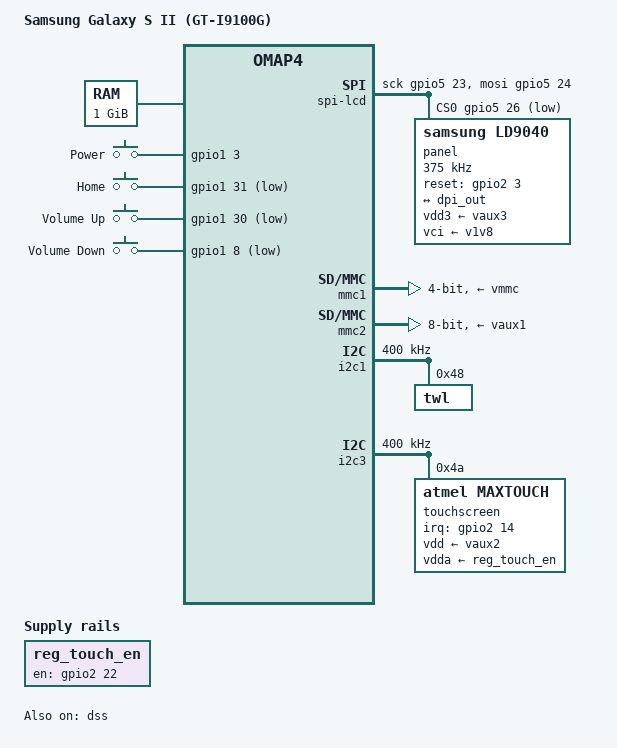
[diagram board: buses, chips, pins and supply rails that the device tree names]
// SPDX-License-Identifier: GPL-2.0-only
/*
 * Copyright (c) 2023, David Wronek <davidwronek@gmail.com>
 */

/dts-v1/;
#include <dt-bindings/input/input.h>
#include "omap443x.dtsi"

#define USE_SIMPLEFB 0

/ {
	model = "Samsung Galaxy S II (GT-I9100G)";
	compatible = "samsung,t1", "ti,omap4430", "ti,omap4";

	aliases {
		display0 = &panel;
	};

	memory@80000000 {
		device_type = "memory";
		reg = <0x80000000 0x40000000>; /* 1 GB */
	};

	reserved-memory {
		#address-cells = <1>;
		#size-cells = <1>;
		ranges;

#if USE_SIMPLEFB
		framebuffer@bef00000 {
			no-map;
			reg = <0xbef00000 (480 * 800 * 4)>;
		};
#endif
	};

	chosen {
		#address-cells = <1>;
		#size-cells = <1>;
		ranges;

		bootargs = "PMOS_NOSPLASH console=tty0";

#if USE_SIMPLEFB
		panel: framebuffer@bef00000 {
			compatible = "simple-framebuffer";
			reg = <0xbef00000 (480 * 800 * 4)>;
			width = <480>;
			height = <800>;
			stride = <(480 * 4)>;
			format = "a8r8g8b8";

			vci-supply = <&vaux3>;
			vdd3-supply = <&v1v8>;

			/*
			 * That's a lot of clocks, but it's necessary due
			 * to unused clk cleanup & no panel driver yet..
			 */
			clocks = <&l3_dss_clkctrl OMAP4_DSS_CORE_CLKCTRL 0>,
				 <&l3_dss_clkctrl OMAP4_DSS_CORE_CLKCTRL 8>,
				 <&l3_dss_clkctrl OMAP4_DSS_CORE_CLKCTRL 9>,
				 <&l3_dss_clkctrl OMAP4_DSS_CORE_CLKCTRL 10>,
				 <&l3_dss_clkctrl OMAP4_DSS_CORE_CLKCTRL 11>,
				 <&l3_div_ck>;
		};
#endif
	};

	gpio-keys {
		compatible = "gpio-keys";

		power {
			label = "Power";
			linux,code = <KEY_POWER>;
			gpios = <&gpio1 3 GPIO_ACTIVE_HIGH>;
			wakeup-source;
		};

		home {
			label = "Home";
			linux,code = <KEY_HOME>;
			gpios = <&gpio1 31 GPIO_ACTIVE_LOW>;
		};


		button-volup {
			label = "Volume Up";
			linux,code = <KEY_VOLUMEUP>;
			gpios = <&gpio1 30 GPIO_ACTIVE_LOW>;
		};

		button-voldown {
			label = "Volume Down";
			linux,code = <KEY_VOLUMEDOWN>;
			gpios = <&gpio1 8 GPIO_ACTIVE_LOW>;
		};
	};

	reg_touch_en: regulator-touch-en  {
		compatible = "regulator-fixed";
		regulator-name = "touch_en";
		gpios = <&gpio2 22 GPIO_ACTIVE_HIGH>;
		regulator-always-on;
		enable-active-high;
	};

	spi-lcd {
		compatible = "spi-gpio";
		#address-cells = <1>;
		#size-cells = <0>;
		pinctrl-names = "default";
		pinctrl-0 = <&mcspi4_pins>;

		num-chipselects = <1>;
		cs-gpios = <&gpio5 26 GPIO_ACTIVE_LOW>;
		sck-gpios = <&gpio5 23 GPIO_ACTIVE_HIGH>;
		mosi-gpios = <&gpio5 24 GPIO_ACTIVE_HIGH>;

		status = "okay";

		panel: panel@0 {
			compatible = "samsung,ld9040";
			reg = <0>;

			pinctrl-names = "default";
			pinctrl-0 = <&panel_pins>;

			spi-max-frequency = <375000>;

			vdd3-supply = <&vaux3>;
			vci-supply = <&v1v8>;

			reset-gpios = <&gpio2 3 GPIO_ACTIVE_HIGH>;
			power-on-delay = <20>;
			reset-delay = <20>;

			panel-width-mm = <56>;
			panel-height-mm = <93>;

			display-timings {
				timing {
					clock-frequency = <25600000>;
					hactive = <480>;
					vactive = <800>;
					hback-porch = <16>;
					hfront-porch = <16>;
					vback-porch = <4>;
					vfront-porch = <10>;
					hsync-len = <2>;
					vsync-len = <2>;
					hsync-active = <0>;
					vsync-active = <0>;
					de-active = <0>;
					pixelclk-active = <0>;
				};
			};

			port {
				panel_in: endpoint {
					remote-endpoint = <&dpi_out>;
				};
			};
		};
	};
};

&omap4_pmx_core {
	pinctrl-names = "default";

	dss_dpi_pins: dss-dpi-pins {
		pinctrl-single,pins = <
			OMAP4_IOPAD(0x162, PIN_OUTPUT | MUX_MODE5)	/* dispc2_data23 */
			OMAP4_IOPAD(0x164, PIN_OUTPUT | MUX_MODE5) 	/* dispc2_data22 */
			OMAP4_IOPAD(0x166, PIN_OUTPUT | MUX_MODE5)	/* dispc2_data21 */
			OMAP4_IOPAD(0x168, PIN_OUTPUT | MUX_MODE5)	/* dispc2_data20 */
			OMAP4_IOPAD(0x16a, PIN_OUTPUT | MUX_MODE5)	/* dispc2_data19 */
			OMAP4_IOPAD(0x16c, PIN_OUTPUT | MUX_MODE5)	/* dispc2_data18 */
			OMAP4_IOPAD(0x16e, PIN_OUTPUT | MUX_MODE5)	/* dispc2_data15 */
			OMAP4_IOPAD(0x170, PIN_OUTPUT | MUX_MODE5)	/* dispc2_data14 */
			OMAP4_IOPAD(0x172, PIN_OUTPUT | MUX_MODE5)	/* dispc2_data13 */
			OMAP4_IOPAD(0x174, PIN_OUTPUT | MUX_MODE5)	/* dispc2_data12 */
			OMAP4_IOPAD(0x176, PIN_OUTPUT | MUX_MODE5)	/* dispc2_data11 */

			OMAP4_IOPAD(0x1b4, PIN_OUTPUT | MUX_MODE5)	/* dispc2_data10 */
			OMAP4_IOPAD(0x1b6, PIN_OUTPUT | MUX_MODE5)	/* dispc2_data9 */
			OMAP4_IOPAD(0x1b8, PIN_OUTPUT | MUX_MODE5)	/* dispc2_data16 */
			OMAP4_IOPAD(0x1ba, PIN_OUTPUT | MUX_MODE5)	/* dispc2_data17 */
			OMAP4_IOPAD(0x1bc, PIN_OUTPUT | MUX_MODE5)	/* dispc2_hsync */
			OMAP4_IOPAD(0x1be, PIN_OUTPUT | MUX_MODE5)	/* dispc2_pclk */
			OMAP4_IOPAD(0x1c0, PIN_OUTPUT | MUX_MODE5)	/* dispc2_vsync */
			OMAP4_IOPAD(0x1c2, PIN_OUTPUT | MUX_MODE5)	/* dispc2_de */
			OMAP4_IOPAD(0x1c4, PIN_OUTPUT | MUX_MODE5)	/* dispc2_data8 */
			OMAP4_IOPAD(0x1c6, PIN_OUTPUT | MUX_MODE5)	/* dispc2_data7 */
			OMAP4_IOPAD(0x1c8, PIN_OUTPUT | MUX_MODE5)	/* dispc2_data6 */
			OMAP4_IOPAD(0x1ca, PIN_OUTPUT | MUX_MODE5)	/* dispc2_data5 */
			OMAP4_IOPAD(0x1cc, PIN_OUTPUT | MUX_MODE5)	/* dispc2_data4 */
			OMAP4_IOPAD(0x1ce, PIN_OUTPUT | MUX_MODE5)	/* dispc2_data3 */

			OMAP4_IOPAD(0x1d0, PIN_OUTPUT | MUX_MODE5)	/* dispc2_data2 */
			OMAP4_IOPAD(0x1d2, PIN_OUTPUT | MUX_MODE5)	/* dispc2_data1 */
			OMAP4_IOPAD(0x1d4, PIN_OUTPUT | MUX_MODE5)	/* dispc2_data0 */
		>;
	};

	i2c1_pins: pinmux_i2c1_pins {
		pinctrl-single,pins = <
			OMAP4_IOPAD(0x122, PIN_INPUT_PULLUP | MUX_MODE0)	/* i2c1_scl */
			OMAP4_IOPAD(0x124, PIN_INPUT_PULLUP | MUX_MODE0)	/* i2c1_sda */
		>;
	};

	i2c3_pins: i2c3-pins {
		pinctrl-single,pins = <
			OMAP4_IOPAD(0x12a, PIN_INPUT_PULLUP | MUX_MODE0)	/* i2c3_scl */
			OMAP4_IOPAD(0x12c, PIN_INPUT_PULLUP | MUX_MODE0)	/* i2c3_sda */
		>;
	};

	mcspi4_pins: mcspi4-pins {
		pinctrl-single,pins = <
			OMAP4_IOPAD(0x154, PIN_OUTPUT | MUX_MODE3)	/*  mcspi4_clk.mcspi4_clk */
			OMAP4_IOPAD(0x156, PIN_OUTPUT | MUX_MODE3)	/*  mcspi4_simo.mcspi4_simo */
			OMAP4_IOPAD(0x15a, PIN_OUTPUT | MUX_MODE3)	/*  mcspi4_cs0.mcspi4_cs0 */
		>;
	};

	mmc1_pins: pinmux_mmc1_pins {
		pinctrl-single,pins = <
			OMAP4_IOPAD(0x0e2, PIN_INPUT_PULLDOWN | MUX_MODE0)	/* sdmmc1_clk */
			OMAP4_IOPAD(0x0e4, PIN_INPUT_PULLUP | MUX_MODE0)	/* sdmcc1_cmd */
			OMAP4_IOPAD(0x0e6, PIN_INPUT_PULLUP | MUX_MODE0)	/* sdmcc1_dat0 */
			OMAP4_IOPAD(0x0e8, PIN_INPUT_PULLUP | MUX_MODE0)	/* sdmmc1_dat1 */
			OMAP4_IOPAD(0x0ea, PIN_INPUT_PULLUP | MUX_MODE0)	/* sdmmc1_dat2 */
			OMAP4_IOPAD(0x0ec, PIN_INPUT_PULLUP | MUX_MODE0)	/* sdmmc1_dat3 */
		>;
	};

	mmc2_pins: pinmux_mmc2_pins {
		pinctrl-single,pins = <
			OMAP4_IOPAD(0x040, PIN_INPUT_PULLUP | MUX_MODE1)	/* sdmmc2_dat0 */
			OMAP4_IOPAD(0x042, PIN_INPUT_PULLUP | MUX_MODE1)	/* sdmmc2_dat1 */
			OMAP4_IOPAD(0x044, PIN_INPUT_PULLUP | MUX_MODE1)	/* sdmmc2_dat2 */
			OMAP4_IOPAD(0x046, PIN_INPUT_PULLUP | MUX_MODE1)	/* sdmmc2_dat3 */
			OMAP4_IOPAD(0x048, PIN_INPUT_PULLUP | MUX_MODE1)	/* sdmmc2_dat4 */
			OMAP4_IOPAD(0x04a, PIN_INPUT_PULLUP | MUX_MODE1)	/* sdmmc2_dat5 */
			OMAP4_IOPAD(0x04c, PIN_INPUT_PULLUP | MUX_MODE1)	/* sdmmc2_dat6 */
			OMAP4_IOPAD(0x04e, PIN_INPUT_PULLUP | MUX_MODE1)	/* sdmmc2_dat7 */
			OMAP4_IOPAD(0x082, PIN_INPUT_PULLUP | MUX_MODE1)	/* sdmmc2_clk */
			OMAP4_IOPAD(0x084, PIN_INPUT_PULLUP | MUX_MODE1)	/* sdmmc2_cmd */
		>;
	};

	touch_pins: pinmux_touch_pins {
		pinctrl-single,pins = <
			OMAP4_IOPAD(0x06c, PIN_INPUT | MUX_MODE3)
		>;
	};

	panel_pins: pinmux_panel_pins {
		pinctrl-single,pins = <
			OMAP4_IOPAD(0x056, PIN_OUTPUT | MUX_MODE3)
		>;
	};
};

#if USE_SIMPLEFB
&dss_core {
	status = "disabled";
};
#else
#if 0
&mcspi4 {
	pinctrl-names = "default";
	pinctrl-0 = <&mcspi4_pins>;

	status = "okay";

	panel: panel@0 {
		compatible = "samsung,ld9040";
		reg = <0>;

		pinctrl-names = "default";
		pinctrl-0 = <&panel_pins>;

		spi-max-frequency = <375000>;

		vdd3-supply = <&vaux3>;
		vci-supply = <&v1v8>;

		reset-gpios = <&gpio2 3 GPIO_ACTIVE_HIGH>;
		power-on-delay = <20>;
		reset-delay = <20>;

		panel-width-mm = <56>;
		panel-height-mm = <93>;

		display-timings {
			timing {
				clock-frequency = <25600000>;
				hactive = <480>;
				vactive = <800>;
				hback-porch = <16>;
				hfront-porch = <16>;
				vback-porch = <4>;
				vfront-porch = <10>;
				hsync-len = <2>;
				vsync-len = <2>;
				hsync-active = <0>;
				vsync-active = <0>;
				de-active = <0>;
				pixelclk-active = <0>;
			};
		};

		port {
			panel_in: endpoint {
				remote-endpoint = <&dpi_out>;
			};
		};
	};
};
#endif

&dss {
	pinctrl-names = "default";
	pinctrl-0 = <&dss_dpi_pins>;
	status = "okay";

	port {
		dpi_out: endpoint {
			remote-endpoint = <&panel_in>;
			data-lines = <24>;
		};
	};
};
#endif

&mmc1 {
	pinctrl-names = "default";
	pinctrl-0 = <&mmc1_pins>;

	/*
	 * PMIC is able to detect card, but this feature isn't available yet and
	 * the battery has to be removed anyway to insert a micro SD card.
	 */
	ti,non-removable;
	vmmc-supply = <&vmmc>;
	bus-width = <4>;
};

&mmc2 {
	pinctrl-names = "default";
	pinctrl-0 = <&mmc2_pins>;

	ti,non-removable;
	vmmc-supply = <&vaux1>;
	bus-width = <8>;
};

&mmc5 {
	status = "disabled";
};

&i2c1 {
	pinctrl-names = "default";
	pinctrl-0 = <&i2c1_pins>;

	clock-frequency = <400000>;

	twl: twl@48 {
		reg = <0x48>;
		/* IRQ# = 7 */
		interrupts = <GIC_SPI 7 IRQ_TYPE_LEVEL_HIGH>; /* IRQ_SYS_1N cascaded to gic */
	};
};

&i2c3 {
	pinctrl-names = "default";
	pinctrl-0 = <&i2c3_pins>;

	clock-frequency = <400000>;

	touchscreen@4a {
		reg = <0x4a>;
		compatible = "atmel,maxtouch";

		pinctrl-names = "default";
		pinctrl-0 = <&touch_pins>;

		vdd-supply = <&vaux2>;
		vdda-supply = <&reg_touch_en>;

		interrupt-parent = <&gpio2>;
		interrupts = <14 IRQ_TYPE_EDGE_FALLING>;
	};
};

#include "twl6030.dtsi"
#include "twl6030_omap4.dtsi"

&twl_usb_comparator {
	usb-supply = <&vusb>;
};

&usb_otg_hs {
	interface-type = <1>;
	mode = <3>;
	power = <50>;
};
